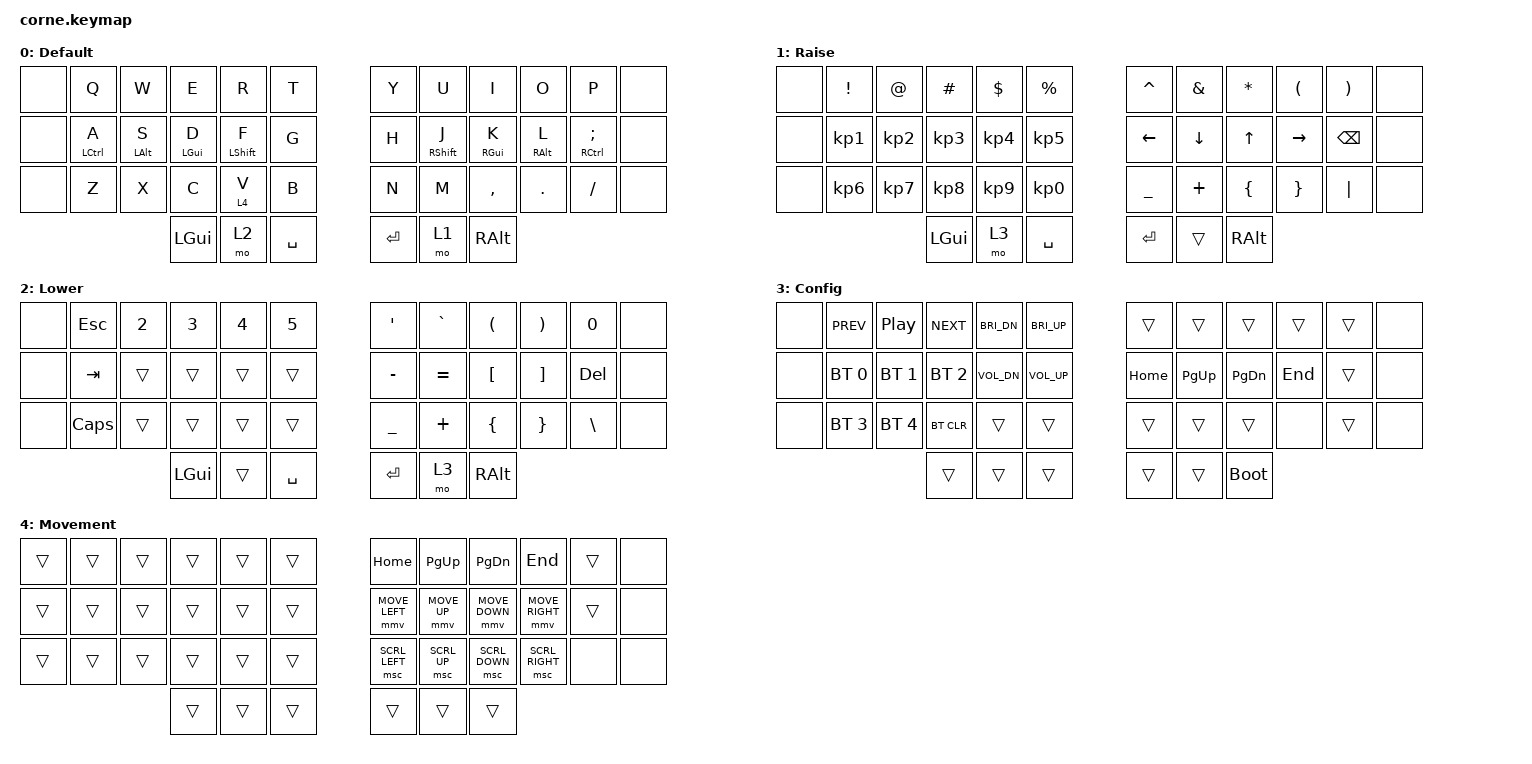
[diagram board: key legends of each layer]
/*
 * Copyright (c) 2020 The ZMK Contributors
 *
 * SPDX-License-Identifier: MIT
 */

#include <dt-bindings/zmk/behaviors.h>
#include <behaviors.dtsi>
#include <dt-bindings/zmk/bt.h>
#include <dt-bindings/zmk/keys.h>
#include <dt-bindings/zmk/pointing.h>

/ {
    behaviors {
        hml: home_row_mod_left {
            compatible = "zmk,behavior-hold-tap";
            #binding-cells = <2>;
            flavor = "balanced";
            require-prior-idle-ms = <150>;
            tapping-term-ms = <280>;
            quick-tap-ms = <175>;
            bindings = <&kp>, <&kp>;

            hold-trigger-key-positions = <6 7 8 9 6 7 8 9 10 11 18 19 20 21 22 23 30 31 32 33 34 35 39 40 41>; // List of keys on the right side of the keyboard
            hold-trigger-on-release;
        };

        hmr: home_row_mod_right {
            compatible = "zmk,behavior-hold-tap";
            #binding-cells = <2>;
            flavor = "balanced";
            require-prior-idle-ms = <150>;
            tapping-term-ms = <280>;
            quick-tap-ms = <175>;
            bindings = <&kp>, <&kp>;

            hold-trigger-key-positions = <1 0 1 2 3 4 5 12 13 14 15 16 17 24 25 26 27 28 29 36 37 38>; // List of keys on the left side of the keyboard
            hold-trigger-on-release;
        };
    };
};

/ {
    keymap {
        compatible = "zmk,keymap";

        default_layer {
            display-name = "Default";
            bindings = <
&none  &kp Q         &kp W            &kp E            &kp R              &kp T        &kp Y    &kp U               &kp I             &kp O             &kp P            &none
&none  &hml LCTRL A  &hml LEFT_ALT S  &hml LEFT_GUI D  &hml LEFT_SHIFT F  &kp G        &kp H    &hmr RIGHT_SHIFT J  &hmr RIGHT_GUI K  &hmr RIGHT_ALT L  &hmr RCTRL SEMI  &none
&none  &kp Z         &kp X            &kp C            &lt 4 V            &kp B        &kp N    &kp M               &kp COMMA         &kp DOT           &kp FSLH         &none
                                      &kp LGUI         &mo 2              &kp SPACE    &kp RET  &mo 1               &kp RALT
            >;
        };

        raise_layer {
            display-name = "Raise";
            bindings = <
&none  &kp EXCL         &kp AT           &kp HASH         &kp DLLR         &kp PRCNT          &kp CARET  &kp AMPS  &kp ASTRK  &kp LPAR   &kp RPAR  &none
&none  &kp KP_NUMBER_1  &kp KP_NUMBER_2  &kp KP_NUMBER_3  &kp KP_NUMBER_4  &kp KP_NUMBER_5    &kp LEFT   &kp DOWN  &kp UP     &kp RIGHT  &kp BSPC  &none
&none  &kp KP_NUMBER_6  &kp KP_NUMBER_7  &kp KP_NUMBER_8  &kp KP_NUMBER_9  &kp KP_NUMBER_0    &kp UNDER  &kp PLUS  &kp LBRC   &kp RBRC   &kp PIPE  &none
                                         &kp LGUI         &mo 3            &kp SPACE          &kp RET    &trans    &kp RALT
            >;
        };

        lower_layer {
            display-name = "Lower";
            bindings = <
&none  &kp ESC   &kp N2  &kp N3    &kp N4  &kp N5       &kp SINGLE_QUOTE  &kp GRAVE  &kp LEFT_PARENTHESIS  &kp RIGHT_PARENTHESIS  &kp N0         &none
&none  &kp TAB   &trans  &trans    &trans  &trans       &kp MINUS         &kp EQUAL  &kp LBKT              &kp RBKT               &kp DEL        &none
&none  &kp CAPS  &trans  &trans    &trans  &trans       &kp UNDER         &kp PLUS   &kp LBRC              &kp RBRC               &kp BACKSLASH  &none
                         &kp LGUI  &trans  &kp SPACE    &kp RET           &mo 3      &kp RALT
            >;
        };

        config {
            display-name = "Config";
            bindings = <
&none  &kp C_PREV    &kp C_PP      &kp C_NEXT    &kp C_BRI_DN  &kp C_BRI_UP    &trans    &trans       &trans         &trans   &trans  &none
&none  &bt BT_SEL 0  &bt BT_SEL 1  &bt BT_SEL 2  &kp C_VOL_DN  &kp C_VOL_UP    &kp HOME  &kp PAGE_UP  &kp PAGE_DOWN  &kp END  &trans  &none
&none  &bt BT_SEL 3  &bt BT_SEL 4  &bt BT_CLR    &trans        &trans          &trans    &trans       &trans         &none    &trans  &none
                                   &trans        &trans        &trans          &trans    &trans       &bootloader
            >;
        };

        movement {
            display-name = "Movement";
            bindings = <
&trans  &trans  &trans  &trans  &trans  &trans    &kp HOME        &kp PAGE_UP   &kp PAGE_DOWN   &kp END          &trans  &none
&trans  &trans  &trans  &trans  &trans  &trans    &mmv MOVE_LEFT  &mmv MOVE_UP  &mmv MOVE_DOWN  &mmv MOVE_RIGHT  &trans  &none
&trans  &trans  &trans  &trans  &trans  &trans    &msc SCRL_LEFT  &msc SCRL_UP  &msc SCRL_DOWN  &msc SCRL_RIGHT  &none   &none
                        &trans  &trans  &trans    &trans          &trans        &trans
            >;
        };
    };
};
